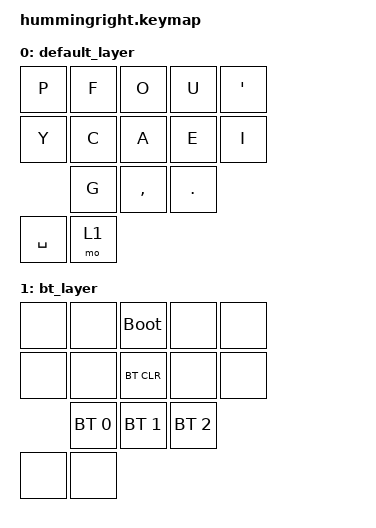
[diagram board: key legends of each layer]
#include <behaviors.dtsi>
#include <dt-bindings/zmk/keys.h>
#include <dt-bindings/zmk/bt.h>

/ {
    keymap {
        compatible = "zmk,keymap";

        default_layer {
            bindings = <
                &kp P       &kp F   &kp O       &kp U   &kp SQT
                &kp Y       &kp C   &kp A       &kp E   &kp I
                            &kp G   &kp COMMA   &kp DOT    
                &kp SPACE   &mo 1
            >;
        };

        bt_layer {
            bindings = <
                &none   &none           &bootloader     &none           &none
                &none   &none           &bt BT_CLR      &none           &none
                        &bt BT_SEL 0    &bt BT_SEL 1    &bt BT_SEL 2
                &none   &none
            >;
        };
    };
};
